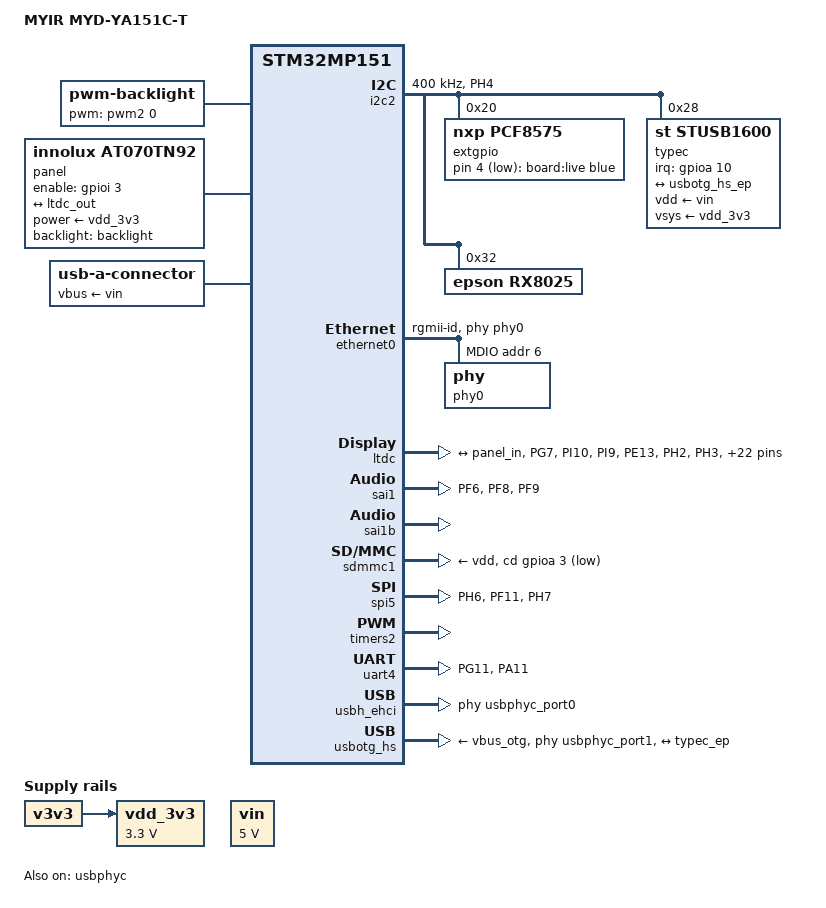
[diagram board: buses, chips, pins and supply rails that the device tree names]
// SPDX-License-Identifier: GPL-2.0-or-later
/* SPDX-FileCopyrightText: Alexander Shiyan, <shc_work@mail.ru> */

/dts-v1/;

#include <dt-bindings/net/qca-ar803x.h>

#include <arm/stm32mp151.dtsi>
#include "stm32mp15xc-myir-myc-ya15xc-t.dtsi"

/ {
	model = "MYIR MYD-YA151C-T";
	compatible = "myir,myd-ya151c-t", "st,stm32mp151";

	aliases {
		ethernet0 = &ethernet0;
		i2c1 = &i2c2;
		serial0 = &uart4;
		spi4 = &spi5;
	};

	chosen {
		stdout-path = "serial0:115200n8";
	};

	backlight: backlight {
		compatible = "pwm-backlight";
		pwms = <&pwm2 0 100000 0>;
		brightness-levels = <0 255>;
		num-interpolated-steps = <256>;
		default-brightness-level = <255>;
	};

	panel: panel {
		compatible = "innolux,at070tn92";
		backlight = <&backlight>;
		enable-gpios = <&gpioi 3 (GPIO_ACTIVE_HIGH | GPIO_PUSH_PULL)>;
		power-supply = <&vdd_3v3>;

		port {
			panel_in: endpoint {
				remote-endpoint = <&ltdc_out>;
			};
		};
	};

	vin: regulator-vin {
		compatible = "regulator-fixed";
		regulator-name = "vin";
		regulator-min-microvolt = <5000000>;
		regulator-max-microvolt = <5000000>;
		regulator-always-on;
	};

	vdd_3v3: regulator-vdd-3v3 {
		compatible = "regulator-fixed";
		regulator-name = "vdd_3v3";
		regulator-min-microvolt = <3300000>;
		regulator-max-microvolt = <3300000>;
		regulator-always-on;
		vin-supply = <&v3v3>;
	};
};

&leds {
	led_live: led-live {
		label = "board:live";
		color = <LED_COLOR_ID_BLUE>;
		default-state = "off";
		function = LED_FUNCTION_HEARTBEAT;
		gpios = <&extgpio 4 GPIO_ACTIVE_LOW>;
		linux,default-trigger = LED_FUNCTION_HEARTBEAT;
		panic-indicator;
	};
};

&vin_som {
	vin-supply = <&vin>;
};

&i2c2 {
	pinctrl-names = "default", "sleep";
	pinctrl-0 = <&i2c2_pins &i2c2_pins_z>;
	pinctrl-1 = <&i2c2_sleep_pins &i2c2_sleep_pins_z>;
	clock-frequency = <400000>;
	status = "okay";

	extgpio: gpio@20 {
		compatible = "nxp,pcf8575";
		reg = <0x20>;
		gpio-controller;
		#gpio-cells = <2>;
	};

	typec: usb@28 {
		pinctrl-names = "default";
		pinctrl-0 = <&stusb1600_pins>;
		compatible = "st,stusb1600";
		reg = <0x28>;
		interrupt-parent = <&gpioa>;
		interrupts = <10 IRQ_TYPE_EDGE_FALLING>;
		vdd-supply = <&vin>;
		vsys-supply = <&vdd_3v3>;

		connector {
			compatible = "usb-c-connector";
			label = "USB-C";
			data-role = "dual";
			power-role = "dual";
			typec-power-opmode = "default";

			port {
				typec_ep: endpoint {
					remote-endpoint = <&usbotg_hs_ep>;
				};
			};
		};
	};

	rx8025: rtc@32 {
		compatible = "epson,rx8025";
		reg = <0x32>;
	};
};

&ethernet0 {
	pinctrl-0 = <&ethernet0_rgmii_pins_a>;
	pinctrl-1 = <&ethernet0_rgmii_sleep_pins_a>;
	pinctrl-names = "default", "sleep";
	phy-handle = <&phy0>;
	phy-mode = "rgmii-id";
	max-speed = <1000>;
	nvmem-cells = <&macaddr0>;
	nvmem-cell-names = "mac-address";
	status = "okay";

	mdio {
		compatible = "snps,dwmac-mdio";
		reset-gpios = <&gpiog 3 (GPIO_ACTIVE_LOW | GPIO_PUSH_PULL)>;
		reset-delay-us = <10000>;
		reset-post-delay-us = <2000>;

		#address-cells = <1>;
		#size-cells = <0>;

		phy0: phy@6 {
			reg = <6>;
			qca,clk-out-frequency = <125000000>;
			qca,clk-out-strength = <AR803X_STRENGTH_FULL>;
		};
	};
};

&ltdc {
	pinctrl-names = "default", "sleep";
	pinctrl-0 = <&ltdc_pins>;
	pinctrl-1 = <&ltdc_sleep_pins>;
	status = "okay";

	port {
		ltdc_out: endpoint {
			remote-endpoint = <&panel_in>;
		};
	};
};

&sai1 {
	pinctrl-names = "default", "sleep";
	pinctrl-0 = <&sai1_pins>;
	pinctrl-1 = <&sai1_sleep_pins>;
	clocks = <&rcc SAI1>, <&rcc PLL3_Q>, <&rcc PLL3_R>;
	clock-names = "pclk", "x8k", "x11k";
	status = "okay";
};

&sai1b {
	dma-names = "tx";
	status = "okay";
};

&sdmmc1 {
	pinctrl-names = "default", "opendrain", "sleep";
	pinctrl-0 = <&sdmmc1_b4_pins_a>;
	pinctrl-1 = <&sdmmc1_b4_od_pins_a>;
	pinctrl-2 = <&sdmmc1_b4_sleep_pins_a>;
	cd-gpios = <&gpioa 3 (GPIO_ACTIVE_LOW | GPIO_PULL_UP)>;
	disable-wp;
	st,neg-edge;
	vmmc-supply = <&vdd>;
	status = "okay";
};

&spi5 {
	pinctrl-names = "default";
	pinctrl-0 = <&spi5_pins>;
	cs-gpios = <&gpioh 5 (GPIO_ACTIVE_LOW | GPIO_PULL_UP)>,
		   <&gpiof 13 (GPIO_ACTIVE_LOW | GPIO_PULL_UP)>;
	status = "okay";
};

&timers2 {
	status = "okay";

	pwm2: pwm {
		pinctrl-names = "default", "sleep";
		pinctrl-0 = <&tim2_pwm_pins>;
		pinctrl-1 = <&tim2_pwm_sleep_pins>;
		status = "okay";
	};
};

&uart4 {
	pinctrl-names = "default", "sleep", "idle";
	pinctrl-0 = <&uart4_pins>;
	pinctrl-1 = <&uart4_sleep_pins>;
	pinctrl-2 = <&uart4_idle_pins>;
	status = "okay";
};

&usbh_ehci {
	phys = <&usbphyc_port0>;
	phy-names = "usb";
	status = "okay";
};

&usbotg_hs {
	phys = <&usbphyc_port1 0>;
	phy-names = "usb2-phy";
	usb-role-switch;
	vbus-supply = <&vbus_otg>;
	status = "okay";

	port {
		usbotg_hs_ep: endpoint {
			remote-endpoint = <&typec_ep>;
		};
	};
};

&usbphyc {
	status = "okay";
};

&usbphyc_port0 {
	phy-supply = <&vdd_usb>;
	st,tune-hs-dc-level = <2>;
	st,enable-fs-rftime-tuning;
	st,enable-hs-rftime-reduction;
	st,trim-hs-current = <15>;
	st,trim-hs-impedance = <1>;
	st,tune-squelch-level = <3>;
	st,tune-hs-rx-offset = <2>;
	st,no-lsfs-sc;

	connector {
		compatible = "usb-a-connector";
		vbus-supply = <&vin>;
	};
};

&usbphyc_port1 {
	phy-supply = <&vdd_usb>;
	st,tune-hs-dc-level = <2>;
	st,enable-fs-rftime-tuning;
	st,enable-hs-rftime-reduction;
	st,trim-hs-current = <15>;
	st,trim-hs-impedance = <1>;
	st,tune-squelch-level = <3>;
	st,tune-hs-rx-offset = <2>;
	st,no-lsfs-sc;
};

&pinctrl {
	i2c2_pins: i2c2-0 {
		pins {
			pinmux = <STM32_PINMUX('H', 4, AF4)>;		/* I2C2_SCL */
			bias-disable;
			drive-open-drain;
			slew-rate = <0>;
		};
	};

	i2c2_sleep_pins: i2c2-sleep-0 {
		pins {
			pinmux = <STM32_PINMUX('H', 4, ANALOG)>;	/* I2C2_SCL */
		};
	};

	ltdc_pins: ltdc-0 {
		pins {
			pinmux = <STM32_PINMUX('G',  7, AF14)>,		/* LCD_CLK */
				 <STM32_PINMUX('I', 10, AF14)>,		/* LCD_HSYNC */
				 <STM32_PINMUX('I',  9, AF14)>,		/* LCD_VSYNC */
				 <STM32_PINMUX('E', 13, AF14)>,		/* LCD_DE */
				 <STM32_PINMUX('H',  2, AF14)>,		/* LCD_R0 */
				 <STM32_PINMUX('H',  3, AF14)>,		/* LCD_R1 */
				 <STM32_PINMUX('H',  8, AF14)>,		/* LCD_R2 */
				 <STM32_PINMUX('H',  9, AF14)>,		/* LCD_R3 */
				 <STM32_PINMUX('H', 10, AF14)>,		/* LCD_R4 */
				 <STM32_PINMUX('H', 11, AF14)>,		/* LCD_R5 */
				 <STM32_PINMUX('H', 12, AF14)>,		/* LCD_R6 */
				 <STM32_PINMUX('E', 15, AF14)>,		/* LCD_R7 */
				 <STM32_PINMUX('E', 14, AF14)>,		/* LCD_G0 */
				 <STM32_PINMUX('E',  6, AF14)>,		/* LCD_G1 */
				 <STM32_PINMUX('H', 13, AF14)>,		/* LCD_G2 */
				 <STM32_PINMUX('H', 14, AF14)>,		/* LCD_G3 */
				 <STM32_PINMUX('H', 15, AF14)>,		/* LCD_G4 */
				 <STM32_PINMUX('I',  0, AF14)>,		/* LCD_G5 */
				 <STM32_PINMUX('I',  1, AF14)>,		/* LCD_G6 */
				 <STM32_PINMUX('I',  2, AF14)>,		/* LCD_G7 */
				 <STM32_PINMUX('D',  9, AF14)>,		/* LCD_B0 */
				 <STM32_PINMUX('G', 12, AF14)>,		/* LCD_B1 */
				 <STM32_PINMUX('G', 10, AF14)>,		/* LCD_B2 */
				 <STM32_PINMUX('D', 10, AF14)>,		/* LCD_B3 */
				 <STM32_PINMUX('I',  4, AF14)>,		/* LCD_B4 */
				 <STM32_PINMUX('I',  5, AF14)>,		/* LCD_B5 */
				 <STM32_PINMUX('I',  6, AF14)>,		/* LCD_B6 */
				 <STM32_PINMUX('I',  7, AF14)>;		/* LCD_B7 */
			bias-disable;
			drive-push-pull;
			slew-rate = <1>;
		};
	};

	ltdc_sleep_pins: ltdc-sleep-0 {
		pins {
			pinmux = <STM32_PINMUX('G',  7, ANALOG)>,	/* LCD_CLK */
				 <STM32_PINMUX('I', 10, ANALOG)>,	/* LCD_HSYNC */
				 <STM32_PINMUX('I',  9, ANALOG)>,	/* LCD_VSYNC */
				 <STM32_PINMUX('E', 13, ANALOG)>,	/* LCD_DE */
				 <STM32_PINMUX('H',  2, ANALOG)>,	/* LCD_R0 */
				 <STM32_PINMUX('H',  3, ANALOG)>,	/* LCD_R1 */
				 <STM32_PINMUX('H',  8, ANALOG)>,	/* LCD_R2 */
				 <STM32_PINMUX('H',  9, ANALOG)>,	/* LCD_R3 */
				 <STM32_PINMUX('H', 10, ANALOG)>,	/* LCD_R4 */
				 <STM32_PINMUX('H', 11, ANALOG)>,	/* LCD_R5 */
				 <STM32_PINMUX('H', 12, ANALOG)>,	/* LCD_R6 */
				 <STM32_PINMUX('E', 15, ANALOG)>,	/* LCD_R7 */
				 <STM32_PINMUX('E', 14, ANALOG)>,	/* LCD_G0 */
				 <STM32_PINMUX('E',  6, ANALOG)>,	/* LCD_G1 */
				 <STM32_PINMUX('H', 13, ANALOG)>,	/* LCD_G2 */
				 <STM32_PINMUX('H', 14, ANALOG)>,	/* LCD_G3 */
				 <STM32_PINMUX('H', 15, ANALOG)>,	/* LCD_G4 */
				 <STM32_PINMUX('I',  0, ANALOG)>,	/* LCD_G5 */
				 <STM32_PINMUX('I',  1, ANALOG)>,	/* LCD_G6 */
				 <STM32_PINMUX('I',  2, ANALOG)>,	/* LCD_G7 */
				 <STM32_PINMUX('D',  9, ANALOG)>,	/* LCD_B0 */
				 <STM32_PINMUX('G', 12, ANALOG)>,	/* LCD_B1 */
				 <STM32_PINMUX('G', 10, ANALOG)>,	/* LCD_B2 */
				 <STM32_PINMUX('D', 10, ANALOG)>,	/* LCD_B3 */
				 <STM32_PINMUX('I',  4, ANALOG)>,	/* LCD_B4 */
				 <STM32_PINMUX('I',  5, ANALOG)>,	/* LCD_B5 */
				 <STM32_PINMUX('I',  6, ANALOG)>,	/* LCD_B6 */
				 <STM32_PINMUX('I',  7, ANALOG)>;	/* LCD_B7 */
		};
	};

	sai1_pins: sai1-0 {
		pins1 {
			pinmux = <STM32_PINMUX('F', 6, AF6)>;		/* SAI1_SD_B */
			bias-disable;
			drive-push-pull;
			slew-rate = <0>;
		};
		pins2 {
			pinmux = <STM32_PINMUX('F', 8, AF6)>,		/* SAI1_SCK_B */
				 <STM32_PINMUX('F', 9, AF6)>;		/* SAI1_FS_B */
			bias-disable;
		};
	};

	sai1_sleep_pins: sai1-sleep-0 {
		pins {
			pinmux = <STM32_PINMUX('F', 6, ANALOG)>,	/* SAI1_SD_B */
				 <STM32_PINMUX('F', 8, ANALOG)>,	/* SAI1_SCK_B */
				 <STM32_PINMUX('F', 9, ANALOG)>;	/* SAI1_FS_B */
		};
	};

	spi5_pins: spi5-0 {
		pins {
			pinmux = <STM32_PINMUX('H', 6, AF5)>,		/* SPI5_SCK */
				 <STM32_PINMUX('F', 11, AF5)>;		/* SPI5_MOSI */
			bias-disable;
			drive-push-pull;
			slew-rate = <1>;
		};
		pins2 {
			pinmux = <STM32_PINMUX('H', 7, AF5)>;		/* SPI5_MISO */
			bias-disable;
		};
	};

	stusb1600_pins: stusb1600-0 {
		pins {
			pinmux = <STM32_PINMUX('A', 10, ANALOG)>;	/* STUSB1600 IRQ */
			bias-pull-up;
		};
	};

	tim2_pwm_pins: tim2-pwm-0 {
		pins {
			pinmux = <STM32_PINMUX('G', 8, AF1)>;		/* TIM2_CH1 */
			bias-disable;
			drive-push-pull;
			slew-rate = <0>;
		};
	};

	tim2_pwm_sleep_pins: tim2-pwm-sleep-0 {
		pins {
			pinmux = <STM32_PINMUX('G', 8, ANALOG)>;	/* TIM2_CH1 */
		};
	};

	uart4_pins: uart4-0 {
		pins1 {
			pinmux = <STM32_PINMUX('G', 11, AF6)>;		/* UART4_TX */
			bias-disable;
			drive-push-pull;
			slew-rate = <0>;
		};
		pins2 {
			pinmux = <STM32_PINMUX('A', 11, AF6)>;		/* UART4_RX */
			bias-disable;
		};
	};

	uart4_idle_pins: uart4-idle-0 {
		pins1 {
			pinmux = <STM32_PINMUX('G', 11, ANALOG)>;	/* UART4_TX */
		};
		pins2 {
			pinmux = <STM32_PINMUX('A', 11, AF6)>;		/* UART4_RX */
			bias-disable;
		};
	};

	uart4_sleep_pins: uart4-sleep-0 {
		pins1 {
			pinmux = <STM32_PINMUX('G', 11, ANALOG)>,	/* UART4_TX */
				 <STM32_PINMUX('A', 11, ANALOG)>;	/* UART4_RX */
		};
	};
};

&pinctrl_z {
	i2c2_pins_z: i2c2-0 {
		pins {
			pinmux = <STM32_PINMUX('Z', 7, AF3)>;		/* I2C2_SDA */
			bias-disable;
			drive-open-drain;
			slew-rate = <0>;
		};
	};

	i2c2_sleep_pins_z: i2c2-sleep-0 {
		pins {
			pinmux = <STM32_PINMUX('Z', 7, ANALOG)>;	/* I2C2_SDA */
		};
	};
};
